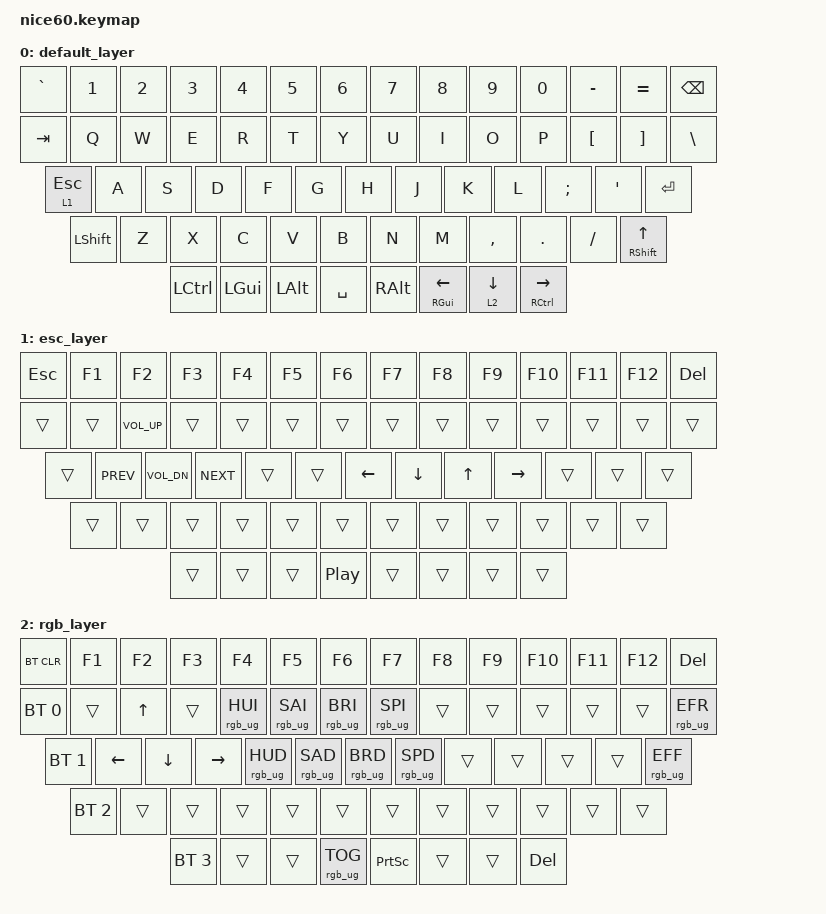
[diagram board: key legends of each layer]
/*
 * Copyright (c) 2021 Nick Winans
 *
 * SPDX-License-Identifier: MIT
 */

#include <behaviors.dtsi>
#include <dt-bindings/zmk/keys.h>
#include <dt-bindings/zmk/rgb.h>
#include <dt-bindings/zmk/bt.h>
#include <dt-bindings/zmk/outputs.h>
#include <dt-bindings/zmk/reset.h>
#include <dt-bindings/zmk/ext_power.h>

/ {
	keymap {
		compatible = "zmk,keymap";
		
		default_layer {
// ------------------------------------------------------------------------------------------
// | TILDE |  1  |  2  |  3  |  4  |  5  |  6  |  7  |  8  |  9  |  0  |  -  |  =  |  BKSP  |
// | TAB  |  Q  |  W  |  E  |  R  |  T  |  Y  |  U  |  I  |  O  |  P  |  [  |  ]  |   "|"   |
// | ESC(1)|  A  |  S  |  D  |  F  |  G  |  H  |  J  |  K  |  L  |  ;  |  '  |     ENTER    |
// |  SHIFT  |  Z  |  X  |  C  |  V  |  B  |  N  |  M  |  ,  |  .  |  /  |      SHIFT (UP)  |
// |  CTL  |  WIN  |  ALT  |            SPACE              |  ALT  | WIN(L)| MO2(D) | CTL(R)|
// ------------------------------------------------------------------------------------------
			bindings = <
	&kp GRAVE  &kp N1 &kp N2 &kp N3 &kp N4 &kp N5 &kp N6 &kp N7 &kp N8 &kp N9 &kp N0 &kp MINUS &kp EQUAL  &kp BSPC
	&kp TAB  &kp Q  &kp W  &kp E  &kp R  &kp T  &kp Y  &kp U  &kp I  &kp O  &kp P  &kp LBKT  &kp RBKT  &kp BSLH
	&lt 1 ESC  &kp A  &kp S  &kp D  &kp F  &kp G  &kp H  &kp J  &kp K  &kp L  &kp SEMI &kp SQT           &kp RET
	&kp LSHFT   &kp Z  &kp X  &kp C  &kp V  &kp B  &kp N  &kp M  &kp COMMA &kp DOT &kp FSLH           &mt RSHFT UP
	&kp LCTRL &kp LGUI &kp LALT             &kp SPACE                     &kp RALT  &mt RGUI LEFT  &lt 2 DOWN  &mt RCTRL RIGHT
			>;
		};
		
		esc_layer {
// ------------------------------------------------------------------------------------------------
// | ESC    |  F1  |  F2   | F3 |  F4  | F5  | F6  | F7  | F8  | F9  | F10  | F11 | F12 |    DEL   |
// |         |      | Vol up |       |      |       |       |       |   |     |    |     |     |   |
// |          | Prev | Vol down | Next |     |      |  LT |  DN  |  UP  |  RT  |     |     |       |
// |           |      |        |       |     |     |     |     |     |     |     |                 |
// |         |      |      |           Play/Pause               |         |       |       |        |
// ------------------------------------------------------------------------------------------------
			bindings = <
	&kp ESC   &kp F1    &kp F2    &kp F3  &kp F4  &kp F5 &kp F6 &kp F7 &kp F8  &kp F9   &kp F10  &kp F11 &kp F12  &kp DEL
	&trans  &trans    &kp C_VOL_UP    &trans  &trans  &trans &trans &trans  &trans  &trans  &trans  &trans  &trans     &trans 
	&trans  &kp C_PREV  &kp C_VOL_DN  &kp C_NEXT &trans &trans &kp LEFT &kp DOWN &kp UP   &kp RIGHT   &trans   &trans        &trans
	&trans    &trans    &trans    &trans   &trans   &trans   &trans   &trans   &trans   &trans   &trans           &trans
	&trans  &trans   &trans                    &kp C_PLAY_PAUSE                  &trans      &trans      &trans               &trans
			>;
		};

		rgb_layer {
// ------------------------------------------------------------------------------------------------
// | BT CLR | F1  | F2  | F3  | F4  | F5  | F6  | F7  | F8  | F9  | F10  | F11 | F12 |    DEL     |
// |  BT 1   |   |  UP |   | HUEUP | SATUP | BRIUP | SPDUP |   |     |    |     |     | EFFECT REV|
// |   BT 2   | LT |  DN  | RT | HUEDN | SATDN | BRIDN | SPDDN |   |     |   |     |  EFFECT FORW |
// |    BT 3     |     |      |      |     |     |     |     |     |     |     |                  |
// |   BT 4  |      |      |             TOG RGB                | PRT SCR |       |       |  DEL  |
// ------------------------------------------------------------------------------------------------
			bindings = <
	&bt BT_CLR   &kp F1    &kp F2    &kp F3  &kp F4           &kp F5          &kp F6          &kp F7          &kp F8   &kp F9   &kp F10  &kp F11 &kp F12  &kp DEL
	&bt BT_SEL 0  &trans    &kp UP    &trans  &rgb_ug RGB_HUI  &rgb_ug RGB_SAI &rgb_ug RGB_BRI &rgb_ug RGB_SPI  &trans   &trans   &trans   &trans  &trans  &rgb_ug RGB_EFR 
	&bt BT_SEL 1   &kp LEFT  &kp DOWN  &kp RIGHT &rgb_ug RGB_HUD &rgb_ug RGB_SAD &rgb_ug RGB_BRD &rgb_ug RGB_SPD &trans   &trans   &trans   &trans        &rgb_ug RGB_EFF
	&bt BT_SEL 2    &trans    &trans    &trans   &trans          &trans          &trans          &trans          &trans   &trans   &trans                          &trans
	&bt BT_SEL 3  &trans   &trans                            &rgb_ug RGB_TOG                                      &kp PSCRN      &trans      &trans               &kp DEL
			>;
		};
	};
};
